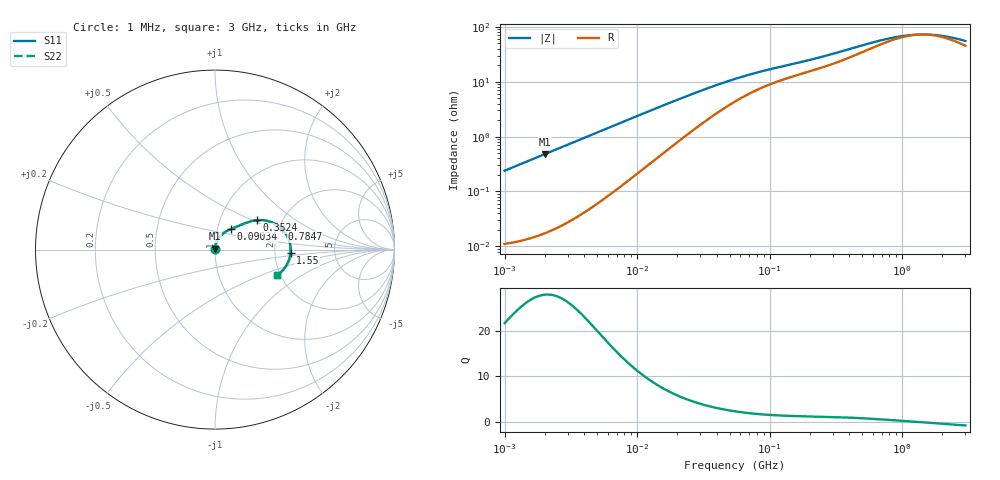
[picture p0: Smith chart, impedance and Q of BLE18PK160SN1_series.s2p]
! BLE18PK160SN1
# Hz S RI R 50
!Freq.(Hz) S11(Real) S11(Imag) S21(Real) S21(Imag) S12(Real) S12(Imag) S22(Real) S22(Imag)
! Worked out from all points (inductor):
!   401 points, 1 MHz to 3 GHz, reference 50 ohm
!   read as one part in series: L = 38 nH near 1.041 MHz
!   highest Q = 27.9 at 2.015 MHz (marker M1), where L = 38 nH
!   self-resonance near 1.419 GHz
!   S11 on the Smith chart (normalised r, x): 1 MHz: 1.00, +0.00; 90.34 MHz: 1.16, +0.27; 352.4 MHz: 1.49, +0.53; 784.7 MHz: 2.08, +0.57; 1.55 GHz: 2.45, -0.12; 3 GHz: 1.91, -0.64
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1000000  0.000116 0.00239  0.9999 -0.00239  0.9999 -0.00239  0.000116 0.00239
1040844  0.000118 0.00248  0.9999 -0.00248  0.9999 -0.00248  0.000118 0.00248
2014875  0.000196 0.00481  0.9998 -0.00481  0.9998 -0.00481  0.000196 0.00481
3823119  0.00047 0.00911  0.9995 -0.00911  0.9995 -0.00911  0.00047 0.00911
1.461624e7  0.00545 0.0339  0.9946 -0.0339  0.9946 -0.0339  0.00545 0.0339
3.127247e7  0.0218 0.0658  0.9782 -0.0658  0.9782 -0.0658  0.0218 0.0658
4.22235e7  0.0353 0.0814  0.9647 -0.0814  0.9647 -0.0814  0.0353 0.0814
5.477226e7  0.0512 0.0945  0.9488 -0.0945  0.9488 -0.0945  0.0512 0.0945
6.964249e7  0.0686 0.1053  0.9314 -0.1053  0.9314 -0.1053  0.0686 0.1053
9.034013e7  0.0892 0.115  0.9108 -0.115  0.9108 -0.115  0.0892 0.115
2.094008e8  0.1629 0.145  0.8371 -0.145  0.8371 -0.145  0.1629 0.145
3.523638e8  0.2317 0.1635  0.7683 -0.1635  0.7683 -0.1635  0.2317 0.1635
4.391493e8  0.2696 0.1636  0.7304 -0.1636  0.7304 -0.1636  0.2696 0.1636
5.364635e8  0.3067 0.1557  0.6933 -0.1557  0.6933 -0.1557  0.3067 0.1557
6.423554e8  0.3397 0.1407  0.6603 -0.1407  0.6603 -0.1407  0.3397 0.1407
7.846996e8  0.3728 0.1151  0.6272 -0.1151  0.6272 -0.1151  0.3728 0.1151
8.005644e8  0.3757 0.112  0.6243 -0.112  0.6243 -0.112  0.3757 0.112
1.125055e9  0.4131 0.0498  0.5869 -0.0498  0.5869 -0.0498  0.4131 0.0498
1.54974e9  0.4207 -0.0194  0.5793 0.0194  0.5793 0.0194  0.4207 -0.0194
2.092429e9  0.4007 -0.0833  0.5993 0.0833  0.5993 0.0833  0.4007 -0.0833
2.556106e9  0.3731 -0.1201  0.6269 0.1201  0.6269 0.1201  0.3731 -0.1201
3e9  0.3438 -0.1432  0.6562 0.1432  0.6562 0.1432  0.3438 -0.1432
